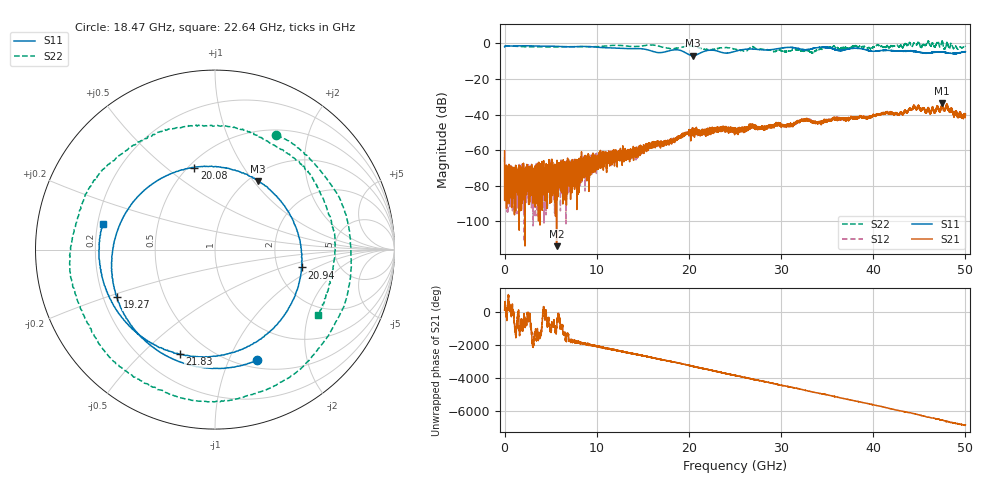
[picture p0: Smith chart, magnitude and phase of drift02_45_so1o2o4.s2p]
!Created with skrf (http://scikit-rf.org).
# Hz S RI R 50.0
!freq ReS11 ImS11 ReS21 ImS21 ReS12 ImS12 ReS22 ImS22
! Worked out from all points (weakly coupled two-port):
!   10001 points, 300 kHz to 50 GHz, reference 50 ohm
!   highest |S21| = -33.76 dB at 47.49 GHz (marker M1); lowest = -114.0 dB at 5.64 GHz (marker M2)
!   lowest |S11| = -6.9 dB at 20.41 GHz (marker M3), VSWR 2.63, Z = 55.4 + j52.7 ohm
!   |S11| at or under -10 dB: nowhere
!   |S22| runs from -5.3 to 1.6 dB; largest |S21 - S12| = 0.003
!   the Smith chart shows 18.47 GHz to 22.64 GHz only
!   S11 on the Smith chart (normalised r, x): 18.47 GHz: 0.58, -1.27; 19.27 GHz: 0.26, -0.22; 20.08 GHz: 0.54, +0.63; 20.94 GHz: 2.73, -0.72; 21.83 GHz: 0.35, -0.66; 22.64 GHz: 0.22, +0.11
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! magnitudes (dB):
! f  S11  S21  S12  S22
! 300 kHz  -2.0  -60.4  -63.6  -1.3
! 275.3 MHz  -1.4  -75.9  -83.8  -1.4
! 3.855 GHz  -1.5  -71.2  -71.7  -2.0
! 4.37 GHz  -1.6  -78.1  -79.6  -2.0
! 5.64 GHz  -1.7  -114.0  -75.8  -2.0
! 8.335 GHz  -1.7  -70.4  -66.6  -1.9
! 16.67 GHz  -5.2  -55.9  -56.4  -1.5
! 18.47 GHz  -3.6  -54.4  -54.0  -2.8
! 19.27 GHz  -4.3  -52.0  -52.2  -2.1
! 20.08 GHz  -6.5  -49.6  -51.0  -1.5
! 20.41 GHz  -6.9  -48.4  -49.0  -1.8
! 20.94 GHz  -6.1  -48.9  -50.1  -2.2
! 21.83 GHz  -4.2  -49.6  -49.5  -3.5
! 22.64 GHz  -3.9  -50.6  -49.0  -3.3
! 25 GHz  -4.5  -48.3  -49.1  -3.2
! 26.11 GHz  -3.3  -49.6  -48.0  -4.3
! 26.9 GHz  -3.2  -46.3  -46.0  -1.7
! 33.34 GHz  -3.0  -44.2  -43.8  -5.3
! 34.89 GHz  -2.2  -43.5  -43.8  -2.3
! 41.67 GHz  -3.9  -38.8  -39.0  -2.0
! 47.49 GHz  -4.8  -33.8  -33.7  1.4
! 50 GHz  -4.7  -39.7  -41.2  -1.5
